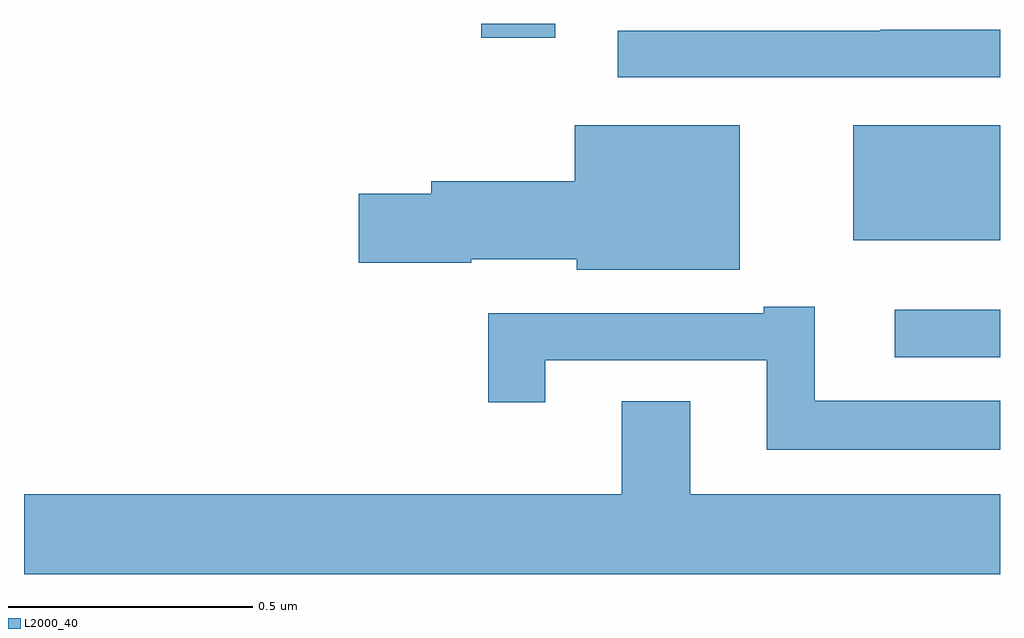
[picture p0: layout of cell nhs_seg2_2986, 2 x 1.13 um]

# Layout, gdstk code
import gdstk
lib = gdstk.Library(unit=1e-6, precision=1e-09)
def R(c, l, rs):  # rectangles x0, y0, x1, y1
    for r in rs: c.add(gdstk.rectangle(r[:2], r[2:], *l))
def P(c, l, *ps):  # polygons
    for p in ps: c.add(gdstk.Polygon(p, *l))
L2000_40 = (2000, 40)

nhs_seg2_2986 = lib.new_cell('nhs_seg2_2986')
R(nhs_seg2_2986, L2000_40, [(149.784,612.117,150,612.214), (149.699,612.356,150,612.592), (148.937,612.771,149.089,612.8)])
P(nhs_seg2_2986, L2000_40, [(150,612.788),(149.755,612.788),(149.755,612.786),(149.217,612.786),(149.217,612.69),(150,612.69)],
  [(149.467,612.592),(149.129,612.592),(149.129,612.477),(148.835,612.477),(148.835,612.452),(148.686,612.452),(148.686,612.31),(148.916,612.31),(148.916,612.317),(149.133,612.317),(149.133,612.296),(149.467,612.296)],
  [(150,612.028),(149.62,612.028),(149.62,612.22),(149.516,612.22),(149.516,612.207),(148.951,612.207),(148.951,612.024),(149.068,612.024),(149.068,612.111),(149.522,612.111),(149.522,611.927),(150,611.927)],
  [(150,611.836),(149.365,611.836),(149.365,612.026),(149.225,612.026),(149.225,611.836),(148,611.836),(148,611.672),(150,611.672)])

lib.write_gds('nhs_seg2_2986.gds')
